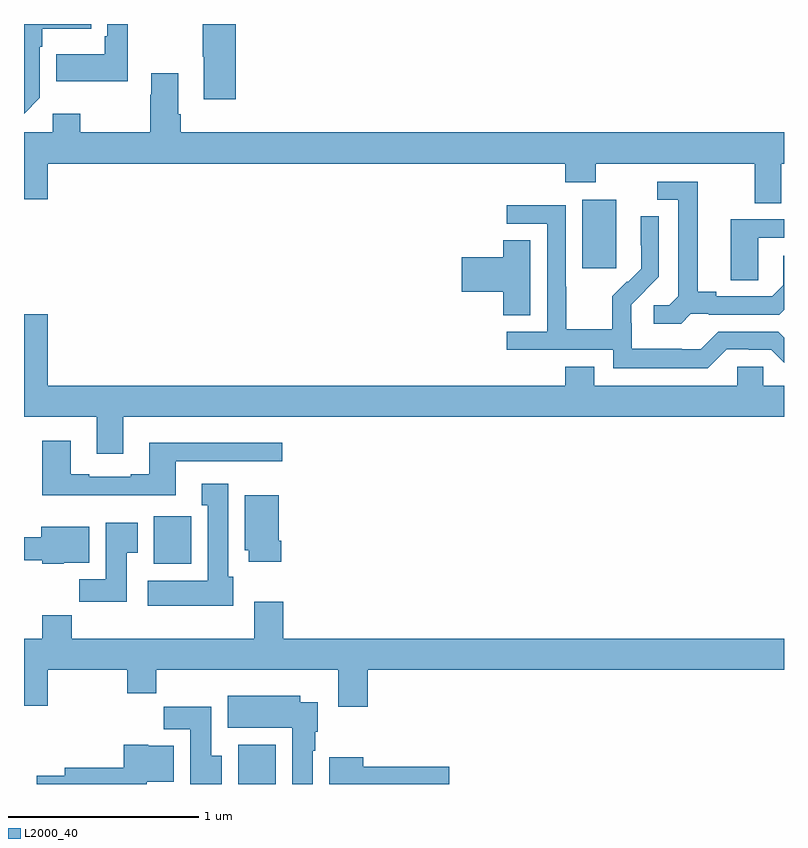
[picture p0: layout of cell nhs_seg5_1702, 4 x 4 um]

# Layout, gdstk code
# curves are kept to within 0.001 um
import gdstk
lib = gdstk.Library(unit=1e-6, precision=1e-09)
def R(c, l, rs):  # rectangles x0, y0, x1, y1
    for r in rs: c.add(gdstk.rectangle(r[:2], r[2:], *l))
def P(c, l, *ps):  # polygons
    for p in ps: c.add(gdstk.Polygon(p, *l))
L2000_40 = (2000, 40)

nhs_seg5_1702 = lib.new_cell('nhs_seg5_1702')
R(nhs_seg5_1702, L2000_40, [(214.127,882.799,214.324,883.006), (213.683,883.958,213.879,884.209), (215.939,885.513,216.118,885.874)])
P(nhs_seg5_1702, L2000_40, [(213.084,886.41),(213.084,886.679),(213.097,886.679),(213.097,886.775),(213.353,886.775),(213.353,886.799),(213,886.799),(213,886.326)],
  [(214.115,886.799),(213.94,886.799),(213.94,886.627),(213.947,886.627),(213.947,886.404),(214.115,886.404)],
  [(213.547,886.799),(213.438,886.799),(213.438,886.735),(213.426,886.735),(213.426,886.639),(213.169,886.639),(213.169,886.499),(213.547,886.499)],
  [(215.849,885.965),(216.009,885.965),(216.009,886.064),(216.845,886.064),(216.845,885.856),(216.985,885.856),(216.985,886.064),(217,886.064),(217,886.228),(213.824,886.228),(213.824,886.324),(213.811,886.324),(213.811,886.54),(213.671,886.54),(213.671,886.427),(213.664,886.427),(213.664,886.228),(213.297,886.228),(213.297,886.327),(213.15,886.327),(213.15,886.228),(213,886.228),(213,885.876),(213.124,885.876),(213.124,886.064),(215.849,886.064)],
  [(216.51,885.273),(216.604,885.273),(216.604,885.27),(216.976,885.27),(217,885.294),(217,885.58),(216.995,885.58),(216.995,885.423),(216.938,885.366),(216.643,885.366),(216.643,885.389),(216.547,885.389),(216.547,885.969),(216.333,885.969),(216.333,885.873),(216.443,885.873),(216.443,885.365),(216.396,885.318),(216.315,885.318),(216.315,885.221),(216.458,885.221)],
  [(216.699,885.087),(216.815,885.087),(216.815,885.084),(216.933,885.084),(217,885.017),(217,885.149),(216.969,885.18),(216.654,885.18),(216.561,885.087),(216.461,885.087),(216.461,885.091),(216.198,885.091),(216.198,885.225),(216.196,885.225),(216.196,885.322),(216.342,885.47),(216.342,885.788),(216.246,885.788),(216.246,885.634),(216.248,885.634),(216.248,885.512),(216.177,885.441),(216.174,885.444),(216.097,885.367),(216.097,885.193),(215.853,885.193),(215.853,885.416),(215.85,885.416),(215.85,885.846),(215.541,885.846),(215.541,885.747),(215.754,885.747),(215.754,885.18),(215.541,885.18),(215.541,885.084),(216.102,885.084),(216.102,884.987),(216.599,884.987)],
  [(216.864,885.675),(217,885.675),(217,885.771),(216.719,885.771),(216.719,885.451),(216.864,885.451)],
  [(215.665,885.662),(215.522,885.662),(215.522,885.572),(215.304,885.572),(215.304,885.389),(215.522,885.389),(215.522,885.265),(215.665,885.265)],
  [(213.523,884.732),(217,884.732),(217,884.896),(216.891,884.896),(216.891,884.994),(216.753,884.994),(216.753,884.896),(216.001,884.896),(216.001,884.995),(215.849,884.995),(215.849,884.896),(213.124,884.896),(213.124,885.271),(213,885.271),(213,884.732),(213.383,884.732),(213.383,884.538),(213.523,884.538)],
  [(213.799,884.499),(214.36,884.499),(214.36,884.596),(213.659,884.596),(213.659,884.428),(213.563,884.428),(213.563,884.415),(213.343,884.415),(213.343,884.428),(213.247,884.428),(213.247,884.605),(213.095,884.605),(213.095,884.318),(213.799,884.318)],
  [(214.102,883.89),(214.075,883.89),(214.075,884.38),(213.935,884.38),(213.935,884.267),(213.968,884.267),(213.968,883.87),(213.651,883.87),(213.651,883.736),(214.102,883.736)],
  [(214.355,884.08),(214.342,884.08),(214.342,884.32),(214.163,884.32),(214.163,884.028),(214.184,884.028),(214.184,883.968),(214.355,883.968)],
  [(213.541,884.017),(213.598,884.017),(213.598,884.173),(213.431,884.173),(213.431,883.876),(213.292,883.876),(213.292,883.758),(213.541,883.758)],
  [(213.21,883.964),(213.343,883.964),(213.343,884.152),(213.092,884.152),(213.092,884.098),(213,884.098),(213,883.976),(213.096,883.976),(213.096,883.958),(213.21,883.958)],
  [(214.808,883.4),(217,883.4),(217,883.564),(214.364,883.564),(214.364,883.759),(214.211,883.759),(214.211,883.564),(213.251,883.564),(213.251,883.688),(213.095,883.688),(213.095,883.564),(213,883.564),(213,883.212),(213.124,883.212),(213.124,883.4),(213.544,883.4),(213.544,883.276),(213.695,883.276),(213.695,883.4),(214.655,883.4),(214.655,883.206),(214.808,883.206)],
  [(214.519,882.974),(214.534,882.974),(214.534,883.074),(214.546,883.074),(214.546,883.228),(214.453,883.228),(214.453,883.264),(214.073,883.264),(214.073,883.094),(214.412,883.094),(214.412,882.799),(214.519,882.799)],
  [(214.042,882.948),(213.985,882.948),(213.985,883.206),(213.736,883.206),(213.736,883.088),(213.875,883.088),(213.875,882.799),(214.042,882.799)],
  [(213.646,882.812),(213.787,882.812),(213.787,883),(213.654,883),(213.654,883.006),(213.524,883.006),(213.524,882.884),(213.215,882.884),(213.215,882.843),(213.066,882.843),(213.066,882.799),(213.646,882.799)],
  [(215.239,882.89),(214.786,882.89),(214.786,882.94),(214.607,882.94),(214.607,882.799),(215.239,882.799)])

lib.write_gds('nhs_seg5_1702.gds')
